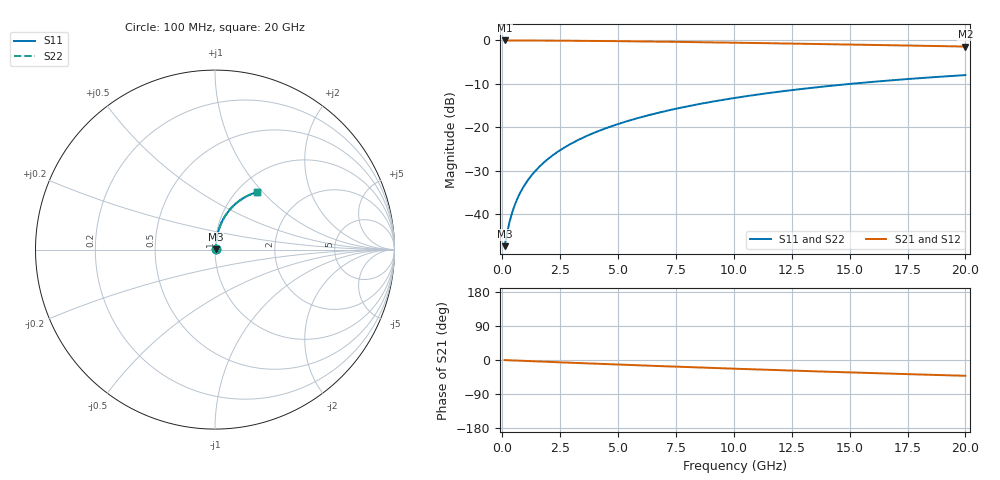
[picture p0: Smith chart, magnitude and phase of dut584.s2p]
! Touchstone file exported from HFSS 2024.1.0
!  File:  C:/UserFiles/LocalFiles/RDL_TSV_Batchsim/temp_RDL_top_584_1779682184.aedt
!  Generated:  12:11:56 PM May 25, 2026
!  Design:  RDL_top
!  Project:  temp_RDL_top_584_1779682184
!  Setup:  Setup1
!  Solution:  Sweep
! Variables:
!  dtsv = 10.80580581um
!  hbump = 3um
!  htsv = 94.64um
!  ldown = 100um
!  lrdl = 594.11um
!  p = 40
!  p1 = 43.09um
!  rhole = 1um
!  t = 450um
!  tdown = 3.915915916um
!  trdl = 3.66um
!  wdown = 15.38538539um
!  wrdl = 16.6um
# GHz S MA R 50.000000
! Terminal data exported
! Port[1] = Box2_T1
! Port[2] = Box2_T2
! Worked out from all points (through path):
!   200 points, 100 MHz to 20 GHz, reference 50 ohm
!   highest |S21| = -0.03 dB at 100 MHz (marker M1); lowest = -1.4 dB at 20 GHz (marker M2)
!   group delay of S21, straight-line fit = 5.77 ps
!   lowest |S11| = -47.4 dB at 100 MHz (marker M3), VSWR 1.01, Z = 50.4 + j0.236 ohm
!   |S11| at or under -10 dB: start of sweep to 15.07 GHz
!   |S22| runs from -47.4 to -8.0 dB; largest |S21 - S12| = 2.7e-15
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0.1  0.004288 33.1  0.9964 -0.3  0.9964 -0.3  0.004288 33.1
! Gamma 0 0 0 0
! Port Impedance 50 0 50 0
0.2  0.00594 51.3  0.9963 -0.5  0.9963 -0.5  0.00594 51.3
0.3  0.007882 60.6  0.9961 -0.8  0.9961 -0.8  0.007882 60.6
0.4  0.009905 66.0  0.9959 -1.0  0.9959 -1.0  0.009905 66.0
0.5  0.01195 69.5  0.9958 -1.3  0.9958 -1.3  0.01196 69.5
0.6  0.01402 72.0  0.9956 -1.5  0.9956 -1.5  0.01402 72.0
0.8  0.01818 75.4  0.9953 -2.0  0.9953 -2.0  0.01818 75.4
1.1  0.0245 78.2  0.9948 -2.7  0.9948 -2.7  0.0245 78.2
1.3  0.02875 79.3  0.9944 -3.2  0.9944 -3.2  0.02875 79.3
1.6  0.03516 80.4  0.9937 -3.9  0.9937 -3.9  0.03516 80.4
2.1  0.0459 81.2  0.9923 -5.1  0.9923 -5.1  0.0459 81.2
2.7  0.05887 81.4  0.9901 -6.6  0.9901 -6.6  0.05887 81.4
3.5  0.07623 81.1  0.9866 -8.5  0.9866 -8.5  0.07623 81.1
4.2  0.09147 80.5  0.9829 -10.1  0.9829 -10.1  0.09147 80.5
5  0.1089 79.5  0.9782 -12.0  0.9782 -12.0  0.1089 79.5
5.9  0.1286 78.3  0.9722 -14.0  0.9722 -14.0  0.1286 78.3
6.8  0.1482 76.9  0.9657 -16.1  0.9657 -16.1  0.1481 76.9
8.4  0.1827 74.3  0.9531 -19.5  0.9531 -19.5  0.1827 74.3
10.1  0.2186 71.3  0.9387 -23.1  0.9387 -23.1  0.2186 71.3
13.4  0.2849 65.3  0.9092 -29.7  0.9092 -29.7  0.2849 65.3
16.7  0.345 59.4  0.8786 -35.9  0.8786 -35.9  0.3449 59.4
20  0.398 53.7  0.8481 -41.7  0.8481 -41.7  0.3979 53.7
